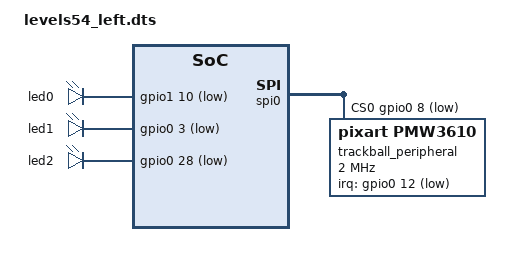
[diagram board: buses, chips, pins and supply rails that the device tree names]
/*
 * Copyright (c) 2025 Vincent Franco
 * SPDX-License-Identifier: MIT
 */

#include "levels54.dts"
#include <zephyr/dt-bindings/input/input-event-codes.h>
#include <input/processors/report_rate_limit.dtsi>
#include <behaviors/rate_limit.dtsi>
#include <input/processors/xyz.dtsi>

/ {
  chosen {
    model = "levels54_left";
    compatible = "levels54_left";
  };

  aliases {
    led-red = &led0;
    led-green = &led1;
    led-blue = &led2;
  };

  leds {
    compatible = "gpio-leds";
    status = "okay";
    led0: led_0 {
      gpios = <&gpio1 10 GPIO_ACTIVE_LOW>;
    };
    led1: led_1 {
      gpios = <&gpio0 3 GPIO_ACTIVE_LOW>;
    };
    led2: led_2 {
      gpios = <&gpio0 28 GPIO_ACTIVE_LOW>;
    };
  };
};

&kscan0 {
  compatible = "zmk,kscan-gpio-matrix";

  row-gpios
    = <&gpio0 4 (GPIO_ACTIVE_HIGH | GPIO_PULL_DOWN)>
    , <&gpio0 22 (GPIO_ACTIVE_HIGH | GPIO_PULL_DOWN)>
    , <&gpio0 24 (GPIO_ACTIVE_HIGH | GPIO_PULL_DOWN)>
    , <&gpio0 13 (GPIO_ACTIVE_HIGH | GPIO_PULL_DOWN)>
    , <&gpio0 7 (GPIO_ACTIVE_HIGH | GPIO_PULL_DOWN)>
    ;

  col-gpios
    = <&gpio1 4 GPIO_ACTIVE_HIGH>
    , <&gpio1 6 GPIO_ACTIVE_HIGH>
    , <&gpio1 0 GPIO_ACTIVE_HIGH>
    , <&gpio1 2 GPIO_ACTIVE_HIGH>
    , <&gpio0 29 GPIO_ACTIVE_HIGH>
    , <&gpio0 20 GPIO_ACTIVE_HIGH>
    ;
};

&spi0 {
    cs-gpios = <&gpio0 8 GPIO_ACTIVE_LOW>;

    trackball_peripheral: trackball_peripheral@0 {
        status = "okay";
        compatible = "pixart,pmw3610";
        reg = <0>;
        spi-max-frequency = <2000000>;
        irq-gpios = <&gpio0 12 (GPIO_ACTIVE_LOW | GPIO_PULL_UP)>;
        cpi = <500>;
        evt-type = <INPUT_EV_REL>;
        x-input-code = <INPUT_REL_X>;
        y-input-code = <INPUT_REL_Y>;
        x-invert;
        y-invert;
        xy-swap;
        force-awake;
        /* keep the sensor awake while ZMK activity state is ACTIVE,
           fallback to normal downshift mode after ZMK goes into IDLE / SLEEP mode.
           thus, the sensor would be a `wakeup-source` */
    };
};

// Overrides for the input-split child node
&trackball_peripheral_split {
    device = <&trackball_peripheral>;
    input-processors
      = <&zip_xy_to_scroll_mapper>
      , <&zip_xyz>
      , <&zip_ble_report_rate_limit>;
};
